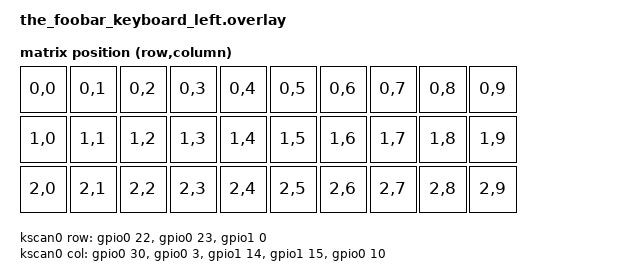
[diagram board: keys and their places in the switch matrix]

#include <dt-bindings/zmk/matrix_transform.h>
#include "layouts.dtsi"
#include "battery.dtsi"

/ {
    chosen {
        zmk,physical-layout = &physical_layout0;
        zmk,battery = &non_lipo_battery;
        zmk,kscan = &kscan0;
    };

    default_transform: keymap_transform_0 {
        compatible = "zmk,matrix-transform";
        columns = <10>;
        rows = <3>;
        map = <
            RC(0,0) RC(0,1) RC(0,2) RC(0,3) RC(0,4) RC(0,5) RC(0,6) RC(0,7) RC(0,8) RC(0,9)
            RC(1,0) RC(1,1) RC(1,2) RC(1,3) RC(1,4) RC(1,5) RC(1,6) RC(1,7) RC(1,8) RC(1,9)
            RC(2,0) RC(2,1) RC(2,2) RC(2,3) RC(2,4) RC(2,5) RC(2,6) RC(2,7) RC(2,8) RC(2,9)
        >;
    };

    kscan0: kscan {
        compatible = "zmk,kscan-gpio-matrix";
        wakeup-source;

        diode-direction = "col2row";
        row-gpios
            = <&gpio0 22 (GPIO_ACTIVE_HIGH | GPIO_PULL_DOWN)>
			,<&gpio0 23 (GPIO_ACTIVE_HIGH | GPIO_PULL_DOWN)>
			,<&gpio1 0 (GPIO_ACTIVE_HIGH | GPIO_PULL_DOWN)>
            ;
        col-gpios
            = <&gpio0 30 GPIO_ACTIVE_HIGH>
			,<&gpio0 3 GPIO_ACTIVE_HIGH>
			,<&gpio1 14 GPIO_ACTIVE_HIGH>
			,<&gpio1 15 GPIO_ACTIVE_HIGH>
			,<&gpio0 10 GPIO_ACTIVE_HIGH>
            ;
    };

    vbatt: vbatt {
        // Disable default battery monitoring
        status = "disabled";
    };

};

&physical_layout0 {
    kscan = <&kscan0>;
    transform = <&default_transform>;
};
